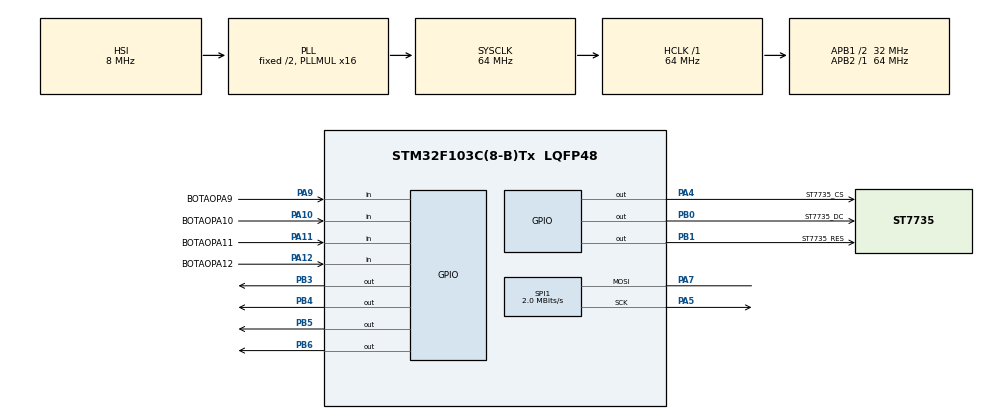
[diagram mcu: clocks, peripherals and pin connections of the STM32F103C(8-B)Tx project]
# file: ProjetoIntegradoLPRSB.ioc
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Mcu.Family=STM32F1
Mcu.Name=STM32F103C(8-B)Tx
Mcu.Package=LQFP48
NVIC.PriorityGroup=NVIC_PRIORITYGROUP_4
PA10.GPIO_Label=BOTAOPA10
PA10.GPIO_PuPd=GPIO_PULLUP
PA10.Signal=GPIO_Input
PA11.GPIO_Label=BOTAOPA11
PA11.GPIO_PuPd=GPIO_PULLUP
PA11.Signal=GPIO_Input
PA12.GPIO_Label=BOTAOPA12
PA12.GPIO_PuPd=GPIO_PULLUP
PA12.Signal=GPIO_Input
PA13.Mode=Serial_Wire
PA13.Signal=SYS_JTMS-SWDIO
PA14.Mode=Serial_Wire
PA14.Signal=SYS_JTCK-SWCLK
PA4.GPIO_Label=ST7735_CS
PA4.Signal=GPIO_Output
PA5.Mode=Simplex_Bidirectional_Master
PA5.Signal=SPI1_SCK
PA7.Mode=Simplex_Bidirectional_Master
PA7.Signal=SPI1_MOSI
PA9.GPIO_Label=BOTAOPA9
PA9.GPIO_PuPd=GPIO_PULLUP
PA9.Signal=GPIO_Input
PB0.GPIO_Label=ST7735_DC
PB0.Signal=GPIO_Output
PB1.GPIO_Label=ST7735_RES
PB1.Signal=GPIO_Output
PB3.Signal=GPIO_Output
PB4.Signal=GPIO_Output
PB5.Signal=GPIO_Output
PB6.Signal=GPIO_Output
ProjectManager.HeapSize=0x200
ProjectManager.StackSize=0x400
ProjectManager.TargetToolchain=STM32CubeIDE
RCC.AHBFreq_Value=64000000
RCC.APB1CLKDivider=RCC_HCLK_DIV2
RCC.APB1Freq_Value=32000000
RCC.APB1TimFreq_Value=64000000
RCC.APB2Freq_Value=64000000
RCC.APB2TimFreq_Value=64000000
RCC.HCLKFreq_Value=64000000
RCC.PLLMUL=RCC_PLL_MUL16
RCC.SYSCLKFreq_VALUE=64000000
RCC.SYSCLKSource=RCC_SYSCLKSOURCE_PLLCLK
RCC.USBFreq_Value=64000000
SPI1.BaudRatePrescaler=SPI_BAUDRATEPRESCALER_32
SPI1.CalculateBaudRate=2.0 MBits/s
SPI1.Direction=SPI_DIRECTION_1LINE
SPI1.Mode=SPI_MODE_MASTER
SPI1.VirtualType=VM_MASTER
board=custom

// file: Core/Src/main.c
/* USER CODE BEGIN Header */
/**
  ******************************************************************************
  * @file           : main.c
  * @brief          : Main program body
  ******************************************************************************
  * @attention
  *
  * <h2><center>&copy; Copyright (c) 2026 STMicroelectronics.
  * All rights reserved.</center></h2>
  *
  * This software component is licensed by ST under BSD 3-Clause license,
  * the "License"; You may not use this file except in compliance with the
  * License. You may obtain a copy of the License at:
  *                        opensource.org/licenses/BSD-3-Clause
  *
  ******************************************************************************
  */
/* USER CODE END Header */
#include "main.h"

/* USER CODE BEGIN Includes */
#include "st7735/st7735.h"
#include <stdlib.h>

/* USER CODE END Includes */

/* USER CODE BEGIN PD */
#define lerbotao9   HAL_GPIO_ReadPin(BOTAOPA9_GPIO_Port, BOTAOPA9_Pin)
#define lerbotao10   HAL_GPIO_ReadPin(BOTAOPA10_GPIO_Port, BOTAOPA10_Pin)
#define lerbotao11   HAL_GPIO_ReadPin(BOTAOPA11_GPIO_Port, BOTAOPA11_Pin)
#define lerbotao12   HAL_GPIO_ReadPin(BOTAOPA12_GPIO_Port, BOTAOPA12_Pin)

/* USER CODE END PD */

SPI_HandleTypeDef hspi1;

void SystemClock_Config(void);
static void MX_GPIO_Init(void);
static void MX_SPI1_Init(void);

/* USER CODE BEGIN 0 */

/* USER CODE BEGIN 0 */
void atualizarBarra(int atual, int max) {
    int larguraBarraFundo = 100;
    int alturaBarra = 12;
    int xBarra = 14;
    int yBarra = 60;

    if (max > 0) {
        int preenchimento = (atual * larguraBarraFundo) / max;

        // 1. Borda
        ST7735_FillRectangle(xBarra - 1, yBarra - 1, larguraBarraFundo + 2, alturaBarra + 2, WHITE);

        // 2. Parte preenchida
        ST7735_FillRectangle(xBarra, yBarra, preenchimento, alturaBarra, GREEN);

        // 3. Parte vazia (limpa o rastro se o aluno sair)
        ST7735_FillRectangle(xBarra + preenchimento, yBarra, larguraBarraFundo - preenchimento, alturaBarra, BLACK);
    }
}
/* USER CODE END 0 */

int main(void)
{

  /* MCU Configuration--------------------------------------------------------*/

  /* Reset of all peripherals, Initializes the Flash interface and the Systick. */
  HAL_Init();

  /* Configure the system clock */
  SystemClock_Config();

  /* Initialize all configured peripherals */
  MX_GPIO_Init();
  MX_SPI1_Init();
  /* USER CODE BEGIN 2 */
  ST7735_Init();
  int caracter1=0;
  int caracter2=0;
  int caracter3=0;
  int caracter4=0;
  int alunosD=0;
  int alunosU=0;
  int alunos=0;
int alunosfora=0;
int senhadigitada=0;
int tentativas = 0;
int bloqueado = 0;
int senhacorreta=0;
uint32_t tempoBloqueio = 0;
int botao9=0;
int botao10=0;
int botao11=0;
int botao12=0;
int saidas=0;
int matricula=0;
int alunosvieram=0;

  /* USER CODE END 2 */

  /* Infinite loop */
  /* USER CODE BEGIN WHILE */
  while (1){
	  botao9=lerbotao9;
	  if (botao9 == 0){
		  botao9=lerbotao9;
		  ST7735_FillScreen(WHITE);
		  HAL_Delay(1000);
		  ST7735_WriteString(1,15, "Bem vindo a aula      digite a senha", Font_7x10,BLACK, WHITE);
		  HAL_Delay(1000);
	  int senha = (rand() % 9999);
	                while (senhacorreta == 0){
	               			  if (bloqueado == 1){
	               				  if (HAL_GetTick() - tempoBloqueio >= 10000){
	               					  bloqueado = 0;
	               					  tentativas = 0;
	               									  }
	               				  else{
	               					  ST7735_FillScreen(WHITE);
	               					  ST7735_WriteString(10,30,"BLOQUEADO POR 10S",Font_11x18,GREEN,WHITE);
	               					  HAL_Delay(100);
	               					  continue;
	               				  }
	               			  }
	                while (senhacorreta == 0 && bloqueado == 0) {
	                	botao11=lerbotao11;
	  while (botao11==1){//primeiro caracter
		  botao11=lerbotao11;
		  botao12=lerbotao12;
	 if (botao12==0 && caracter1<9){
		 botao12=lerbotao12;
		 caracter1++;

	 }
	 botao10=lerbotao10;
	  if (botao10==0){
		  botao10=lerbotao10;
		 caracter1--;
	 }
	  ST7735_FillScreen(WHITE);
		  	  //char c = itoa(caracter1);
		  	char c1[2];
		  	c1[0] = caracter1 + '0';
		  	c1[1] = '\0';
		  	ST7735_WriteString(5, 15, c1, Font_16x26, BLACK, WHITE);
		  	HAL_Delay (1000);
	  }
	  botao11=lerbotao11;
	  while (botao11==0){
		  botao11=lerbotao11;
		  HAL_Delay(100);
	  }
	  botao11=lerbotao11;
	  while (botao11==1){//segundo caracter
		  botao11=lerbotao11;
		  botao12=lerbotao12;
	 if (botao12==0 && caracter2<9){
		 botao12=lerbotao12;
		 caracter2++;
	 }
	 botao10=lerbotao10;
	  if (botao10==0){
		  botao10=lerbotao10;
		 caracter2--;
	 }

	 		  	  //char c = itoa(caracter1);
	 		 	char c2[2];
	 		 		  	c2[0] = caracter2 + '0';
	 		 		  	c2[1] = '\0';
	 		 		  	ST7735_WriteString(20, 15, c2, Font_16x26, BLACK, WHITE);
	 		 		  	HAL_Delay (1000);

	  }
	  botao11=lerbotao11;
	  while (botao11==0){
		  botao11=lerbotao11;
		  HAL_Delay(100);
	  }
	  botao11=lerbotao11;
	  while (botao11==1){//terceiro caracter
		  botao11=lerbotao11;
		  botao12=lerbotao12;
	 if (botao12==0 && caracter3<9){
		 caracter3++;
	 }
	 botao10=lerbotao10;
	  if (botao10==0){
		  botao10=lerbotao10;
		 caracter3--;

	 }

	 		  	  //char c = itoa(caracter1);
	 		 	char c3[2];
	 		 		  	c3[0] = caracter3 + '0';
	 		 		  	c3[1] = '\0';
	 		 		  	ST7735_WriteString(35, 15, c3, Font_16x26, BLACK, WHITE);
	 		 		  	HAL_Delay (1000);

	  }
	  botao11=lerbotao11;
	  while (botao11==0){
		  botao11=lerbotao11;
		  HAL_Delay(100);
	  }
	  botao11=lerbotao11;
	  while (botao11==1){ //quarto caracter
		  botao11=lerbotao11;
		  botao12=lerbotao12;
	 if (botao12==0 && caracter4<9){
		 botao12=lerbotao12;
		 caracter4++;
	 }
	 botao10=lerbotao10;
	  if (botao10==0){
		  botao10=lerbotao10;
		 caracter4--;
	 }

	 		  	  //char c = itoa(caracter1);
	 		 	char c4[2];
	 		 		  	c4[0] = caracter4 + '0';
	 		 		  	c4[1] = '\0';
	 		 		  	ST7735_WriteString(50, 15, c4, Font_16x26, BLACK, WHITE);
	 		 		  	HAL_Delay (1000);

	  }
	  botao11=lerbotao11;
	  while (botao11==0){
		  botao11=lerbotao11;
		  HAL_Delay(100);
	  }

	  senhadigitada= (caracter1*1000)+(caracter2*100)+(caracter3*10)+(caracter4);

		  	if(senhadigitada!=senha){
		  		tentativas++;
		  		ST7735_FillScreen(WHITE);
		  		ST7735_WriteString(10,30,"Senha Errada",Font_11x18,GREEN,WHITE);
		  		HAL_Delay(2000);
		  		if (tentativas >= 3){
		  			bloqueado = 1;
		  			tempoBloqueio = HAL_GetTick();

		  		}
		  	}

	  if (senhadigitada==senha){
		  senhacorreta=1;
		  ST7735_FillScreen(WHITE);
			               ST7735_WriteString(5,15, "Senha correta!!", Font_11x18,GREEN, WHITE);
					  	  HAL_Delay(2000);
					  	ST7735_FillScreen(WHITE);
		  ST7735_FillScreen(WHITE);
		               ST7735_WriteString(1,15, "Digite a quantidade de alunos max na sala", Font_7x10,GREEN, WHITE);
				  	  HAL_Delay(2000);
				  	ST7735_FillScreen(WHITE);
                       botao11=lerbotao11;
				  	 while (botao11==1){ //a quantidade de dezenas dos alunos.
				  		 botao11=lerbotao11;
				  		 botao12=lerbotao12;
				  		 if (botao12==0){
				  			 botao12=lerbotao12;
				  			 alunosD++;
				  		 }
				  		 botao10=lerbotao10;
				  		  if (botao10==0){
				  			  botao10=lerbotao10;
				  			 alunosD--;
				  		 }
				  		char cd[2];
				  			  	cd[0] = alunosD + '0';
				  			  	cd[1] = '\0';
				  			  	ST7735_WriteString(5, 15, cd, Font_16x26, BLACK, WHITE);
				  			  	HAL_Delay (1000);
				  	 }
				  	 botao11=lerbotao11;
				  	 while (botao11==0){
				  		 botao11=lerbotao11;
				  		 HAL_Delay(1000);
				  	 }
				  	 botao11=lerbotao11;
				  	 while (botao11==1){//a quantidade de unidades dos alunos.
				  		 botao11=lerbotao11;
				  		 botao12=lerbotao12;
				  	 if (botao12==0){
				  		 botao12=lerbotao12;
				  		alunosU++;
				  		}
				  	 botao10=lerbotao10;
				  	if (botao10==0){
				  		botao10=lerbotao10;
				  		alunosU--;
				  		}
				  	char cU[2];
				  	cU[0] = alunosU + '0';
				  	cU[1] = '\0';
				  	ST7735_WriteString(20, 15, cU, Font_16x26, BLACK, WHITE);
				  	HAL_Delay (1000);

				  		 }
				  	 botao11=lerbotao11;
				  	while (botao11==0){
				  		botao11=lerbotao11;
				  		HAL_Delay(1000);
				  	 }
				  int maxAlunos= (alunosD*10) + alunosU;
				  ST7735_FillScreen(WHITE);

 botao11=lerbotao11;
 botao12=lerbotao12;
				  while (botao11==1 || botao12==1 ){
					  botao11=lerbotao11;
					  botao12=lerbotao12;
						 char sal[10]={0};
						 sprintf(sal,"%d",alunos);
						 ST7735_WriteString(140,15, sal, Font_7x10,GREEN, WHITE);
						  ST7735_WriteString(1,15, "alunos presentes:", Font_7x10,GREEN, WHITE);

							char cf[2];
							cf[0] = alunosfora + '0';
							cf[1] = '\0';
							ST7735_WriteString(140, 40, cf, Font_7x10, BLACK, WHITE);
							ST7735_WriteString(1,40, "alunos fora da sala:", Font_7x10,GREEN, WHITE);
						  char cma[10];
						  sprintf(cma,"%d",maxAlunos);
						  ST7735_WriteString(140, 60, cma, Font_7x10, BLACK, WHITE);

						  atualizarBarra(alunos,maxAlunos);
						  HAL_Delay(2000);
					if (alunos<maxAlunos) {
						botao9=lerbotao9;
					  if (botao9==0){ // entradas dos alunos
                 botao9=lerbotao9;
						  alunos++;
						  atualizarBarra(alunos,maxAlunos);
						  alunosvieram++;
                 ST7735_FillScreen(WHITE);
                 ST7735_WriteString(1,15, "Scaneando aluno", Font_7x10,GREEN, WHITE);

                 HAL_Delay(2000);
                 ST7735_FillScreen(WHITE);
                 ST7735_WriteString(1,30, "Matricula", Font_7x10,GREEN, WHITE);
                 HAL_Delay(2000);

                 char mt[10]={0};
                 sprintf(mt,"%d",matricula);
                 ST7735_WriteString(70,30, mt, Font_7x10,GREEN, WHITE);
                 HAL_Delay(500);
                 ST7735_FillScreen(WHITE);

					  }
					  botao10=lerbotao10;
                 if (botao10==0){          //saidas de alunos
                	 botao10=lerbotao10;
                	 alunos--;
                	 atualizarBarra(alunos,maxAlunos);
                	 alunosvieram--;

                 }

					}
					botao11=lerbotao11;
					if (botao11==0){ //alunos sairam pro banheiro ou agua
						botao11=lerbotao11;
						alunosfora++;
						saidas++;
					}
					botao12=lerbotao12;
						if (botao12==0  && alunosfora>0){ //alunos voltaram do banheiro
							botao12=lerbotao12;
						alunosfora--;
					}

                     botao11=lerbotao11;
if (botao11==0 && alunosfora>3 ){
	  ST7735_FillScreen(WHITE);
	  ST7735_WriteString(1,15, "Quantidade de alunos     fora max", Font_7x10,YELLOW, WHITE);
	  HAL_Delay(2000);
	  ST7735_FillScreen(WHITE);
	  alunosfora=3;

}

				  }
				  botao11=lerbotao11;
				  botao12=lerbotao12;
				  if (botao11==0 && botao12==0){
					  botao11=lerbotao11;
					  botao12=lerbotao12;
					  ST7735_FillScreen(WHITE);

					  char cll[10];
					  cll[0] = saidas + '0';
					  cll[1] = '\0';
					  char cav[10];
					  cav[0] = alunosvieram + '0';
					  cav[1] = '\0';
					  ST7735_WriteString(125, 15, cll, Font_7x10, BLACK, WHITE);
					  ST7735_WriteString(1,15, "Saidas totais:", Font_7x10,YELLOW, WHITE);
					  ST7735_WriteString(125, 30, cav, Font_7x10, BLACK, WHITE);
					  ST7735_WriteString(1,30, "Alunos presentes:", Font_7x10,YELLOW, WHITE);

				  }

	  }
		  }

	                }
	  }
  }

    /* USER CODE END WHILE */

  }

void SystemClock_Config(void)
{
  RCC_OscInitTypeDef RCC_OscInitStruct = {0};
  RCC_ClkInitTypeDef RCC_ClkInitStruct = {0};

  /** Initializes the RCC Oscillators according to the specified parameters
  * in the RCC_OscInitTypeDef structure.
  */
  RCC_OscInitStruct.OscillatorType = RCC_OSCILLATORTYPE_HSI;
  RCC_OscInitStruct.HSIState = RCC_HSI_ON;
  RCC_OscInitStruct.HSICalibrationValue = RCC_HSICALIBRATION_DEFAULT;
  RCC_OscInitStruct.PLL.PLLState = RCC_PLL_ON;
  RCC_OscInitStruct.PLL.PLLSource = RCC_PLLSOURCE_HSI_DIV2;
  RCC_OscInitStruct.PLL.PLLMUL = RCC_PLL_MUL16;
  if (HAL_RCC_OscConfig(&RCC_OscInitStruct) != HAL_OK)
  {
    Error_Handler();
  }
  /** Initializes the CPU, AHB and APB buses clocks
  */
  RCC_ClkInitStruct.ClockType = RCC_CLOCKTYPE_HCLK|RCC_CLOCKTYPE_SYSCLK
                              |RCC_CLOCKTYPE_PCLK1|RCC_CLOCKTYPE_PCLK2;
  RCC_ClkInitStruct.SYSCLKSource = RCC_SYSCLKSOURCE_PLLCLK;
  RCC_ClkInitStruct.AHBCLKDivider = RCC_SYSCLK_DIV1;
  RCC_ClkInitStruct.APB1CLKDivider = RCC_HCLK_DIV2;
  RCC_ClkInitStruct.APB2CLKDivider = RCC_HCLK_DIV1;

  if (HAL_RCC_ClockConfig(&RCC_ClkInitStruct, FLASH_LATENCY_2) != HAL_OK)
  {
    Error_Handler();
  }
}

static void MX_SPI1_Init(void)
{

  /* SPI1 parameter configuration*/
  hspi1.Instance = SPI1;
  hspi1.Init.Mode = SPI_MODE_MASTER;
  hspi1.Init.Direction = SPI_DIRECTION_1LINE;
  hspi1.Init.DataSize = SPI_DATASIZE_8BIT;
  hspi1.Init.CLKPolarity = SPI_POLARITY_LOW;
  hspi1.Init.CLKPhase = SPI_PHASE_1EDGE;
  hspi1.Init.NSS = SPI_NSS_SOFT;
  hspi1.Init.BaudRatePrescaler = SPI_BAUDRATEPRESCALER_32;
  hspi1.Init.FirstBit = SPI_FIRSTBIT_MSB;
  hspi1.Init.TIMode = SPI_TIMODE_DISABLE;
  hspi1.Init.CRCCalculation = SPI_CRCCALCULATION_DISABLE;
  hspi1.Init.CRCPolynomial = 10;
  if (HAL_SPI_Init(&hspi1) != HAL_OK)
  {
    Error_Handler();
  }

}

static void MX_GPIO_Init(void)
{
  GPIO_InitTypeDef GPIO_InitStruct = {0};

  /* GPIO Ports Clock Enable */
  __HAL_RCC_GPIOA_CLK_ENABLE();
  __HAL_RCC_GPIOB_CLK_ENABLE();

  /*Configure GPIO pin Output Level */
  HAL_GPIO_WritePin(ST7735_CS_GPIO_Port, ST7735_CS_Pin, GPIO_PIN_RESET);

  /*Configure GPIO pin Output Level */
  HAL_GPIO_WritePin(GPIOB, ST7735_DC_Pin|ST7735_RES_Pin|GPIO_PIN_3|GPIO_PIN_4
                          |GPIO_PIN_5|GPIO_PIN_6, GPIO_PIN_RESET);

  /*Configure GPIO pin : ST7735_CS_Pin */
  GPIO_InitStruct.Pin = ST7735_CS_Pin;
  GPIO_InitStruct.Mode = GPIO_MODE_OUTPUT_PP;
  GPIO_InitStruct.Pull = GPIO_NOPULL;
  GPIO_InitStruct.Speed = GPIO_SPEED_FREQ_LOW;
  HAL_GPIO_Init(ST7735_CS_GPIO_Port, &GPIO_InitStruct);

  /*Configure GPIO pins : ST7735_DC_Pin ST7735_RES_Pin PB3 PB4
                           PB5 PB6 */
  GPIO_InitStruct.Pin = ST7735_DC_Pin|ST7735_RES_Pin|GPIO_PIN_3|GPIO_PIN_4
                          |GPIO_PIN_5|GPIO_PIN_6;
  GPIO_InitStruct.Mode = GPIO_MODE_OUTPUT_PP;
  GPIO_InitStruct.Pull = GPIO_NOPULL;
  GPIO_InitStruct.Speed = GPIO_SPEED_FREQ_LOW;
  HAL_GPIO_Init(GPIOB, &GPIO_InitStruct);

  /*Configure GPIO pins : BOTAOPA9_Pin BOTAOPA10_Pin BOTAOPA11_Pin BOTAOPA12_Pin */
  GPIO_InitStruct.Pin = BOTAOPA9_Pin|BOTAOPA10_Pin|BOTAOPA11_Pin|BOTAOPA12_Pin;
  GPIO_InitStruct.Mode = GPIO_MODE_INPUT;
  GPIO_InitStruct.Pull = GPIO_PULLUP;
  HAL_GPIO_Init(GPIOA, &GPIO_InitStruct);

}

void Error_Handler(void)
{
  __disable_irq();
  while (1)
  {
  }
}

/************************ (C) COPYRIGHT STMicroelectronics *****END OF FILE****/
